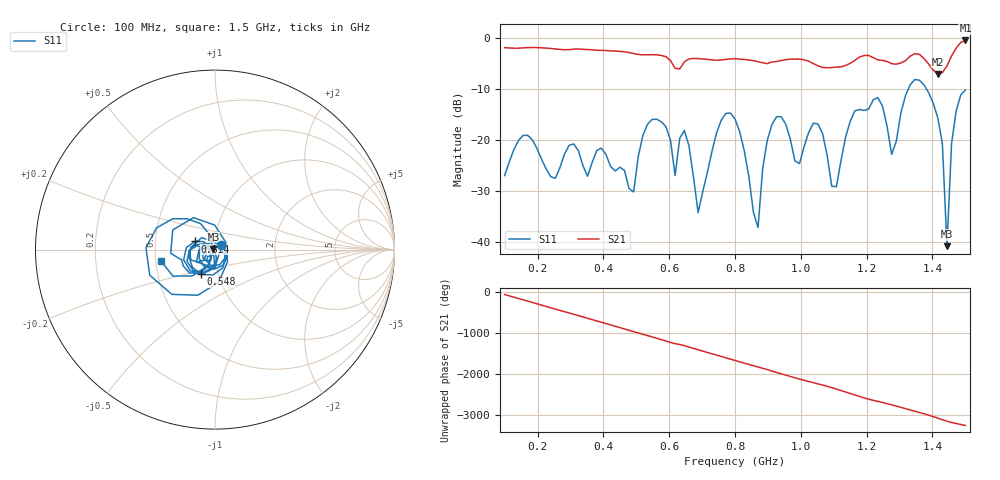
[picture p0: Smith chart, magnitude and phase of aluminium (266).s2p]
! NanoVNA-App
! Date: 2025-09-25 14:57:21
! Start: 100MHz Stop: 1,5GHz Points: 101
! S-Parameter data: F S11 S21 S12 S22
# Hz S RI R 50
!  Frequency  S11_Real  S11_Imag  S21_Real  S21_Imag  S12_Real  S12_Imag  S22_Real  S22_Imag
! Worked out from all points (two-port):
!   101 points, 100 MHz to 1.5 GHz, reference 50 ohm
!   highest |S21| = -0.52 dB at 1.5 GHz (marker M1); lowest = -7.1 dB at 1.416 GHz (marker M2)
!   |S21| within 3 dB of the highest: start of sweep to 579.7 MHz; 1.458 GHz to end of sweep (the widest 2 of 4)
!   lowest |S11| = -40.8 dB at 1.444 GHz (marker M3), VSWR 1.02, Z = 49.1 + j0.306 ohm
!   |S11| at or under -10 dB: start of sweep to 1.327 GHz; 1.382 GHz to end of sweep
!   S12 and S22 are empty: the file has one direction only
!   S11 on the Smith chart (normalised r, x): 100 MHz: 1.07, +0.06; 548 MHz: 0.82, -0.23; 814 MHz: 0.79, +0.07; 1.5 GHz: 0.53, -0.07
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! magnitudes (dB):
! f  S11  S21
! 100 MHz  -27.0  -1.9
! 338 MHz  -25.0  -2.3
! 492 MHz  -30.2  -3.1
! 548 MHz  -16.0  -3.3
! 576 MHz  -16.4  -3.5
! 618 MHz  -27.0  -6.0
! 646 MHz  -18.1  -4.7
! 688 MHz  -34.2  -4.1
! 800 MHz  -15.9  -4.1
! 814 MHz  -18.3  -4.2
! 870 MHz  -37.1  -4.7
! 912 MHz  -17.0  -4.7
! 996 MHz  -24.6  -4.2
! 1.038 GHz  -16.7  -5.0
! 1.094 GHz  -29.0  -5.8
! 1.22 GHz  -12.1  -3.9
! 1.276 GHz  -22.8  -5.1
! 1.346 GHz  -8.2  -3.1
! 1.416 GHz  -15.6  -7.1
! 1.444 GHz  -40.8  -5.5
! 1.458 GHz  -20.7  -3.5
! 1.5 GHz  -10.2  -0.5
